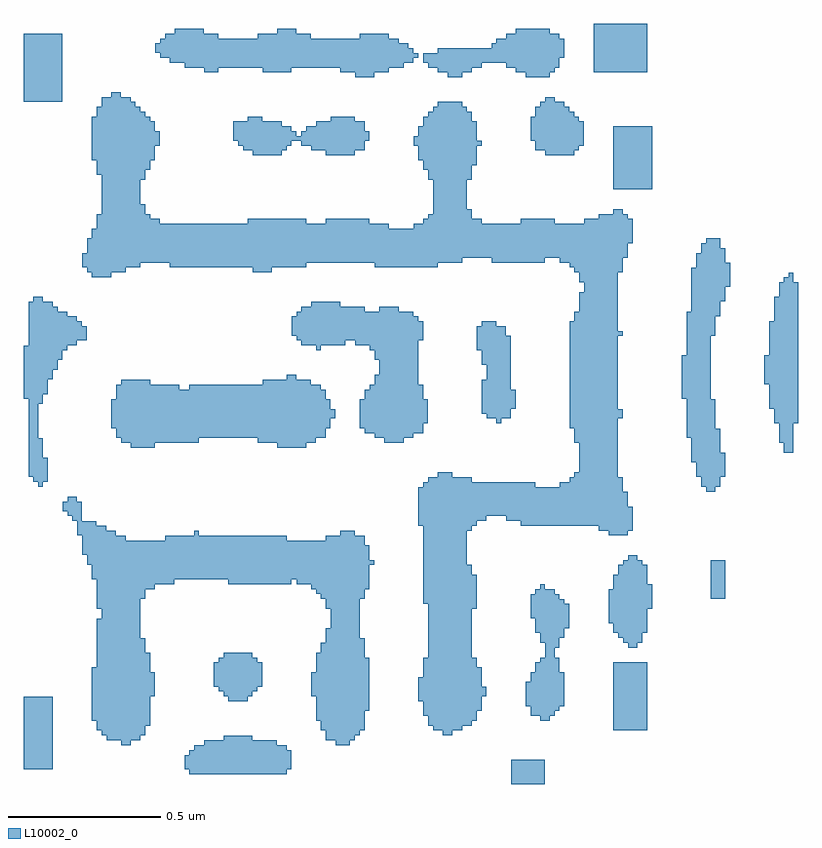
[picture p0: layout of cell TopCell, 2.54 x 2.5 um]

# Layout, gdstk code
import gdstk
lib = gdstk.Library(unit=1e-6, precision=1e-09)
def R(c, l, rs):  # rectangles x0, y0, x1, y1
    for r in rs: c.add(gdstk.rectangle(r[:2], r[2:], *l))
L10002_0 = (10002, 0)

topcell = lib.new_cell('TopCell')
R(topcell, L10002_0, [(2.624,1.04,2.735,1.119), (1.568,1.072,1.887,1.151), (1.024,1.088,1.119,1.327), (1.552,1.088,1.568,1.135), (1.887,1.088,1.903,1.151), (1.584,1.151,1.887,1.167), (1.616,1.167,1.855,1.183), (1.344,1.168,1.359,1.855), (1.359,1.168,1.375,1.839), (2.048,1.168,2.095,1.855), (1.68,1.183,1.775,1.199), (1.296,1.184,1.327,1.871), (1.327,1.184,1.344,1.855), (1.375,1.184,1.407,1.839), (2.016,1.184,2.048,1.551), (2.095,1.184,2.111,1.871), (1.28,1.2,1.295,1.887), (1.295,1.2,1.296,1.871), (1.407,1.2,1.423,1.519), (2.111,1.2,2.127,1.855), (2.4,1.2,2.431,2.063), (1.264,1.216,1.28,1.583), (2,1.216,2.016,1.503), (2.127,1.216,2.143,1.519), (2.368,1.216,2.4,2.047), (2.431,1.216,2.463,2.047), (2.96,1.216,3.071,1.439), (1.423,1.232,1.439,1.471), (2.352,1.232,2.368,2.047), (2.463,1.232,2.479,2.047), (2.479,1.232,2.495,1.759), (1.248,1.248,1.264,1.423), (1.984,1.248,2,1.471), (2.495,1.248,2.511,1.455), (2.72,1.248,2.751,1.455), (2.336,1.264,2.352,1.455), (2.688,1.264,2.72,1.407), (2.751,1.264,2.767,1.679), (2.143,1.28,2.159,1.455), (2.511,1.28,2.527,1.423), (2.767,1.28,2.783,1.455), (2.672,1.296,2.688,1.375), (2.783,1.296,2.799,1.407), (1.696,1.312,1.759,1.471), (2.32,1.312,2.336,1.391), (1.439,1.328,1.455,1.407), (1.68,1.328,1.696,1.471), (1.759,1.328,1.775,1.471), (1.968,1.328,1.984,1.407), (2.527,1.328,2.543,1.359), (1.664,1.344,1.68,1.455), (1.775,1.344,1.791,1.455), (1.648,1.36,1.664,1.439), (1.791,1.36,1.807,1.439), (2.704,1.407,2.72,1.439), (2.736,1.455,2.751,1.679), (2.767,1.488,2.783,1.663), (3.008,1.488,3.039,1.791), (2.72,1.504,2.735,1.695), (2.735,1.504,2.736,1.679), (2.992,1.504,3.008,1.775), (3.039,1.504,3.055,1.775), (2.783,1.52,2.799,1.647), (2.976,1.52,2.992,1.759), (2.704,1.536,2.72,1.679), (2.96,1.536,2.976,1.727), (3.055,1.536,3.071,1.759), (2.032,1.551,2.048,1.855), (2.799,1.552,2.815,1.631), (2.944,1.568,2.96,1.679), (2.688,1.584,2.704,1.663), (1.264,1.616,1.28,1.887), (2.016,1.616,2.032,1.855), (2.495,1.616,2.511,1.727), (3.071,1.616,3.087,1.695), (2.336,1.632,2.352,2.031), (1.407,1.648,1.423,1.839), (2,1.648,2.016,1.839), (2.127,1.648,2.143,1.855), (3.28,1.648,3.327,1.775), (1.984,1.664,2,1.839), (1.423,1.68,1.455,1.839), (1.968,1.68,1.984,1.839), (2.143,1.68,2.159,1.823), (1.455,1.696,1.519,1.839), (1.696,1.696,1.887,1.855), (1.887,1.696,1.903,1.839), (1.92,1.696,1.968,1.839), (1.248,1.712,1.263,1.903), (1.263,1.712,1.264,1.887), (1.519,1.712,1.696,1.855), (1.903,1.712,1.92,1.839), (1.232,1.76,1.248,1.903), (2.159,1.76,2.175,1.775), (1.216,1.792,1.232,1.903), (1.488,1.839,1.519,1.855), (1.584,1.855,1.599,1.871), (2.064,1.855,2.095,1.871), (1.2,1.856,1.215,1.967), (1.215,1.856,1.216,1.903), (2.944,1.856,2.975,2.911), (2.975,1.856,2.991,2.047), (2.991,1.856,3.007,1.999), (2.479,1.872,2.495,2.047), (2.912,1.872,2.944,2.911), (3.007,1.872,3.023,1.951), (2.32,1.888,2.336,2.015), (2.495,1.888,2.511,2.031), (2.656,1.888,2.703,2.031), (2.703,1.888,2.912,2.015), (1.184,1.904,1.199,1.983), (1.199,1.904,1.2,1.967), (2.511,1.904,2.543,2.031), (2.608,1.904,2.656,2.031), (1.168,1.92,1.184,1.983), (2.543,1.92,2.608,2.031), (1.152,1.936,1.168,1.967), (3.264,2,3.279,2.831), (3.279,2,3.295,2.303), (2.784,2.015,2.912,2.031), (1.072,2.016,1.087,2.175), (3.248,2.016,3.264,2.815), (3.295,2.016,3.311,2.207), (2.816,2.031,2.912,2.047), (1.056,2.032,1.071,2.639), (1.071,2.032,1.072,2.175), (1.087,2.032,1.103,2.111), (2.384,2.047,2.4,2.063), (2.832,2.047,2.912,2.063), (1.04,2.048,1.056,2.623), (3.232,2.048,3.248,2.783), (3.311,2.048,3.327,2.127), (2.848,2.063,2.912,2.655), (3.216,2.096,3.232,2.735), (3.52,2.128,3.551,2.703), (1.376,2.144,1.439,2.367), (1.439,2.144,1.455,2.351), (1.856,2.144,1.951,2.367), (1.344,2.16,1.376,2.367), (1.455,2.16,1.535,2.351), (1.535,2.16,1.599,2.335), (1.792,2.16,1.856,2.351), (1.951,2.16,1.967,2.367), (1.967,2.16,1.983,2.351), (2.208,2.16,2.255,2.607), (2.255,2.16,2.271,2.591), (2.832,2.16,2.848,2.591), (3.504,2.16,3.52,2.687), (1.328,2.176,1.344,2.351), (1.599,2.176,1.792,2.351), (1.983,2.176,1.999,2.351), (1.999,2.176,2.015,2.335), (2.176,2.176,2.208,2.383), (2.271,2.176,2.303,2.591), (3.2,2.176,3.216,2.591), (2.144,2.192,2.176,2.335), (2.303,2.192,2.319,2.575), (2.319,2.192,2.335,2.351), (1.312,2.208,1.328,2.303), (2.015,2.208,2.031,2.303), (2.128,2.208,2.144,2.303), (2.816,2.208,2.832,2.559), (2.335,2.224,2.351,2.303), (2.576,2.224,2.591,2.543), (3.488,2.224,3.504,2.639), (3.551,2.224,3.567,2.687), (2.031,2.24,2.047,2.271), (2.544,2.24,2.575,2.559), (2.575,2.24,2.576,2.543), (2.591,2.24,2.607,2.543), (2.607,2.24,2.623,2.511), (2.975,2.24,2.991,2.271), (2.528,2.256,2.544,2.367), (2.623,2.272,2.639,2.335), (3.472,2.272,3.488,2.559), (1.071,2.288,1.087,2.639), (1.024,2.304,1.04,2.479), (3.184,2.304,3.2,2.447), (1.087,2.32,1.103,2.623), (1.568,2.335,1.599,2.351), (2.16,2.335,2.176,2.351), (1.808,2.351,1.856,2.367), (3.456,2.352,3.472,2.447), (1.888,2.367,1.919,2.383), (1.103,2.368,1.119,2.623), (2.192,2.383,2.208,2.607), (1.119,2.4,1.135,2.607), (2.528,2.416,2.544,2.559), (1.135,2.432,1.151,2.591), (2.176,2.432,2.192,2.591), (1.151,2.464,1.167,2.591), (1.984,2.464,1.999,2.623), (2.16,2.464,2.176,2.591), (2.512,2.464,2.528,2.543), (1.167,2.48,1.199,2.575), (1.936,2.48,1.984,2.607), (1.999,2.48,2.063,2.623), (2.063,2.48,2.079,2.607), (2.112,2.48,2.143,2.607), (2.143,2.48,2.16,2.591), (1.199,2.496,1.215,2.559), (1.215,2.496,1.231,2.543), (1.92,2.496,1.936,2.591), (2.079,2.496,2.112,2.607), (2.319,2.496,2.335,2.559), (1.904,2.512,1.92,2.575), (2.975,2.512,2.991,2.527), (3.279,2.512,3.295,2.831), (3.295,2.576,3.311,2.831), (1.968,2.607,1.984,2.623), (3.311,2.624,3.327,2.799), (2.864,2.655,2.912,2.895), (3.327,2.672,3.343,2.751), (2.848,2.688,2.864,2.879), (3.536,2.703,3.551,2.719), (1.248,2.704,1.311,2.863), (1.232,2.72,1.248,2.831), (1.311,2.72,1.359,3.295), (1.776,2.72,1.839,2.895), (2.832,2.72,2.848,2.879), (2.975,2.72,2.991,2.927), (1.216,2.736,1.232,2.783), (1.359,2.736,1.375,3.295), (1.375,2.736,1.391,3.279), (1.391,2.736,1.407,3.263), (1.504,2.736,1.776,2.879), (1.839,2.736,1.951,2.895), (2.176,2.736,2.223,2.879), (2.223,2.736,2.383,2.863), (2.816,2.736,2.832,2.879), (1.407,2.752,1.423,2.943), (1.423,2.752,1.439,2.911), (1.439,2.752,1.471,2.895), (1.471,2.752,1.504,2.879), (1.951,2.752,2.176,2.879), (2.383,2.752,2.463,3.263), (2.56,2.752,2.735,2.879), (2.784,2.752,2.816,2.879), (2.463,2.768,2.479,3.263), (2.479,2.768,2.495,2.927), (2.495,2.768,2.527,2.895), (2.527,2.768,2.56,2.879), (2.735,2.768,2.767,2.895), (2.767,2.768,2.784,2.879), (2.991,2.768,3.007,2.911), (3.007,2.816,3.023,2.895), (1.264,2.863,1.311,2.911), (2.304,2.863,2.383,2.879), (1.76,2.879,1.776,2.895), (2.016,2.879,2.159,2.895), (2.336,2.879,2.383,2.895), (2.656,2.879,2.735,2.895), (2.352,2.895,2.383,2.911), (1.28,2.911,1.311,3.295), (2.368,2.911,2.383,3.263), (2.96,2.911,2.975,2.927), (2.96,2.992,3.087,3.199), (1.407,3.024,1.423,3.247), (2.352,3.024,2.368,3.247), (2.479,3.024,2.495,3.247), (1.264,3.04,1.28,3.263), (1.423,3.056,1.439,3.231), (2.336,3.056,2.352,3.231), (2.495,3.072,2.511,3.215), (1.248,3.088,1.264,3.231), (1.439,3.088,1.455,3.215), (2.32,3.088,2.336,3.199), (1.776,3.104,1.807,3.231), (1.807,3.104,1.871,3.215), (2.016,3.104,2.111,3.215), (2.736,3.104,2.767,3.295), (2.767,3.104,2.799,3.279), (2.799,3.104,2.815,3.263), (2.815,3.104,2.831,3.247), (1.744,3.12,1.776,3.215), (1.871,3.12,1.887,3.199), (1.968,3.12,2.016,3.199), (2.111,3.12,2.143,3.215), (2.704,3.12,2.736,3.263), (2.831,3.12,2.847,3.231), (1.455,3.136,1.471,3.183), (1.728,3.136,1.744,3.215), (1.887,3.136,1.903,3.199), (1.936,3.136,1.968,3.183), (2.304,3.136,2.32,3.167), (2.511,3.136,2.527,3.151), (2.847,3.136,2.863,3.215), (1.712,3.152,1.728,3.215), (1.903,3.152,1.919,3.183), (1.919,3.152,1.936,3.167), (2.143,3.152,2.159,3.183), (2.688,3.152,2.704,3.231), (1.952,3.183,1.968,3.199), (1.984,3.199,2.016,3.215), (1.76,3.215,1.776,3.231), (2.032,3.215,2.111,3.231), (2.384,3.263,2.463,3.279), (2.72,3.263,2.736,3.279), (1.024,3.28,1.151,3.503), (1.312,3.295,1.343,3.311), (2.112,3.36,2.175,3.487), (2.416,3.36,2.463,3.455), (2.672,3.36,2.751,3.519), (1.616,3.376,1.663,3.503), (1.808,3.376,1.903,3.503), (2.064,3.376,2.112,3.487), (2.175,3.376,2.223,3.503), (2.384,3.376,2.416,3.455), (2.463,3.376,2.495,3.455), (2.64,3.376,2.672,3.519), (2.751,3.376,2.767,3.503), (2.896,3.376,3.071,3.535), (1.552,3.392,1.615,3.519), (1.615,3.392,1.616,3.503), (1.663,3.392,1.808,3.487), (1.903,3.392,1.919,3.519), (1.919,3.392,1.967,3.503), (1.967,3.392,2.064,3.487), (2.223,3.392,2.255,3.487), (2.255,3.392,2.271,3.471), (2.352,3.392,2.384,3.439), (2.495,3.392,2.527,3.455), (2.608,3.392,2.64,3.503), (2.767,3.392,2.783,3.503), (1.504,3.408,1.552,3.503), (2.271,3.408,2.287,3.471), (2.287,3.408,2.303,3.455), (2.336,3.408,2.352,3.439), (2.527,3.408,2.608,3.455), (1.472,3.424,1.504,3.487), (2.303,3.424,2.319,3.439), (2.783,3.424,2.799,3.487), (1.456,3.44,1.472,3.471), (2.56,3.455,2.608,3.471), (2.576,3.471,2.608,3.487), (1.488,3.487,1.504,3.503), (1.792,3.487,1.808,3.503), (2.128,3.487,2.175,3.503), (1.52,3.503,1.552,3.519), (1.856,3.503,1.903,3.519)])

lib.write_gds('TopCell.gds')
